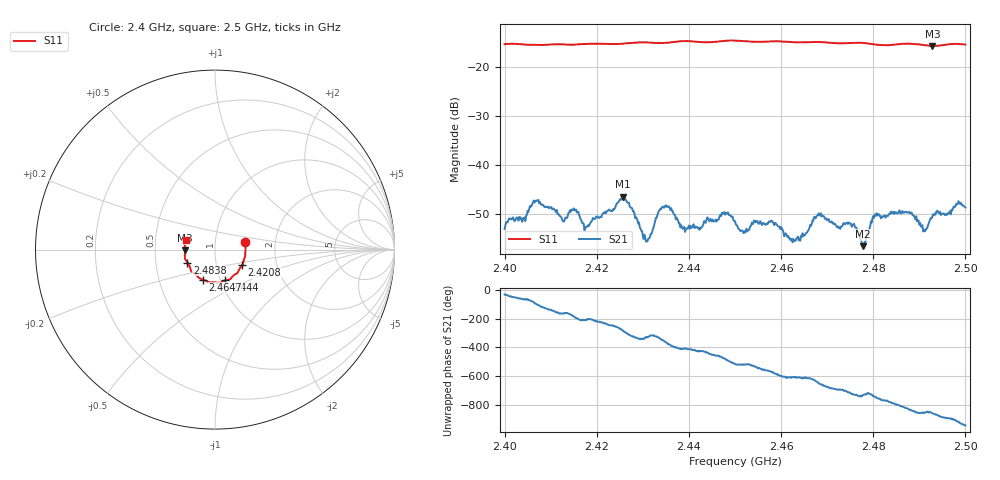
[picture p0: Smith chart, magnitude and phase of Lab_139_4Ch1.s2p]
# Hz S RI R 50
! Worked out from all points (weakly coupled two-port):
!   601 points, 2.4 GHz to 2.5 GHz, reference 50 ohm
!   highest |S21| = -46.38 dB at 2.4257 GHz (marker M1); lowest = -56.5 dB at 2.4778 GHz (marker M2)
!   lowest |S11| = -15.6 dB at 2.4928 GHz (marker M3), VSWR 1.40, Z = 35.8 - j0.354 ohm
!   |S11| at or under -10 dB: start of sweep to end of sweep
!   S12 and S22 are empty: the file has one direction only
!   S11 on the Smith chart (normalised r, x): 2.4 GHz: 1.40, +0.12; 2.4208 GHz: 1.33, -0.24; 2.444 GHz: 1.06, -0.37; 2.4647 GHz: 0.83, -0.29; 2.4838 GHz: 0.73, -0.11; 2.5 GHz: 0.72, +0.08
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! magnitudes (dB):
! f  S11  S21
! 2.4 GHz  -15.3  -53.0
! 2.4068 GHz  -15.4  -47.2
! 2.4167 GHz  -15.2  -51.2
! 2.4208 GHz  -15.2  -50.5
! 2.4257 GHz  -15.2  -46.4
! 2.4307 GHz  -14.9  -55.5
! 2.4333 GHz  -15.0  -49.6
! 2.4353 GHz  -15.0  -48.3
! 2.4392 GHz  -14.6  -53.5
! 2.444 GHz  -14.9  -50.6
! 2.45 GHz  -14.5  -51.4
! 2.4647 GHz  -14.9  -53.8
! 2.4667 GHz  -14.8  -51.9
! 2.4753 GHz  -15.0  -52.5
! 2.4778 GHz  -15.0  -56.5
! 2.4803 GHz  -15.3  -50.0
! 2.4833 GHz  -15.5  -50.0
! 2.4838 GHz  -15.4  -49.4
! 2.488 GHz  -15.2  -49.8
! 2.4913 GHz  -15.5  -53.3
! 2.4928 GHz  -15.6  -50.4
! 2.5 GHz  -15.3  -48.6
